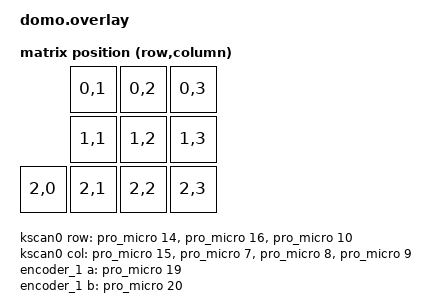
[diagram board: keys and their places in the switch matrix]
/*
 * Copyright (c) 2021 The ZMK Contributors
 *
 * SPDX-License-Identifier: MIT
 */

#include <dt-bindings/zmk/matrix_transform.h>

/ {

    chosen {
        zephyr,display = &oled;
        zmk,kscan = &kscan0;
        zmk,matrix-transform = &default_transform;
    };

    kscan0: kscan_0 {
        compatible = "zmk,kscan-gpio-matrix";
        diode-direction = "row2col";
        wakeup-source;

        col-gpios
            = <&pro_micro 15 (GPIO_ACTIVE_HIGH | GPIO_PULL_DOWN)>
            , <&pro_micro 7 (GPIO_ACTIVE_HIGH | GPIO_PULL_DOWN)>
            , <&pro_micro 8 (GPIO_ACTIVE_HIGH | GPIO_PULL_DOWN)>
            , <&pro_micro 9 (GPIO_ACTIVE_HIGH | GPIO_PULL_DOWN)>
            ;

        row-gpios
            = <&pro_micro 14 (GPIO_ACTIVE_HIGH | GPIO_PULL_DOWN)>
            , <&pro_micro 16 (GPIO_ACTIVE_HIGH | GPIO_PULL_DOWN)>
            , <&pro_micro 10 (GPIO_ACTIVE_HIGH | GPIO_PULL_DOWN)>
            ;
    };

    encoder_1: encoder_1 {
        compatible = "alps,ec11";
        a-gpios = <&pro_micro 19 (GPIO_ACTIVE_LOW | GPIO_PULL_UP)>;
        b-gpios = <&pro_micro 20 (GPIO_ACTIVE_LOW | GPIO_PULL_UP)>;
        steps = <80>;
        status = "disabled";
    };


    default_transform: keymap_transform_0 {
        compatible = "zmk,matrix-transform";
        columns = <4>;
        rows = <3>;
        map = <
                RC(0,1) RC(0,2) RC(0,3)
                RC(1,1) RC(1,2) RC(1,3)
        RC(2,0) RC(2,1) RC(2,2) RC(2,3)
        >;
    };

};

&pro_micro_i2c {
    status = "okay";

    oled: ssd1306@3c {
        compatible = "solomon,ssd1306fb";
        reg = <0x3c>;
        width = <128>;
        height = <32>;
        segment-offset = <0>;
        page-offset = <0>;
        display-offset = <0>;
        multiplex-ratio = <31>;
        segment-remap;
        com-invdir;
        com-sequential;
        inversion-on;
        prechargep = <0x22>;
    };
};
